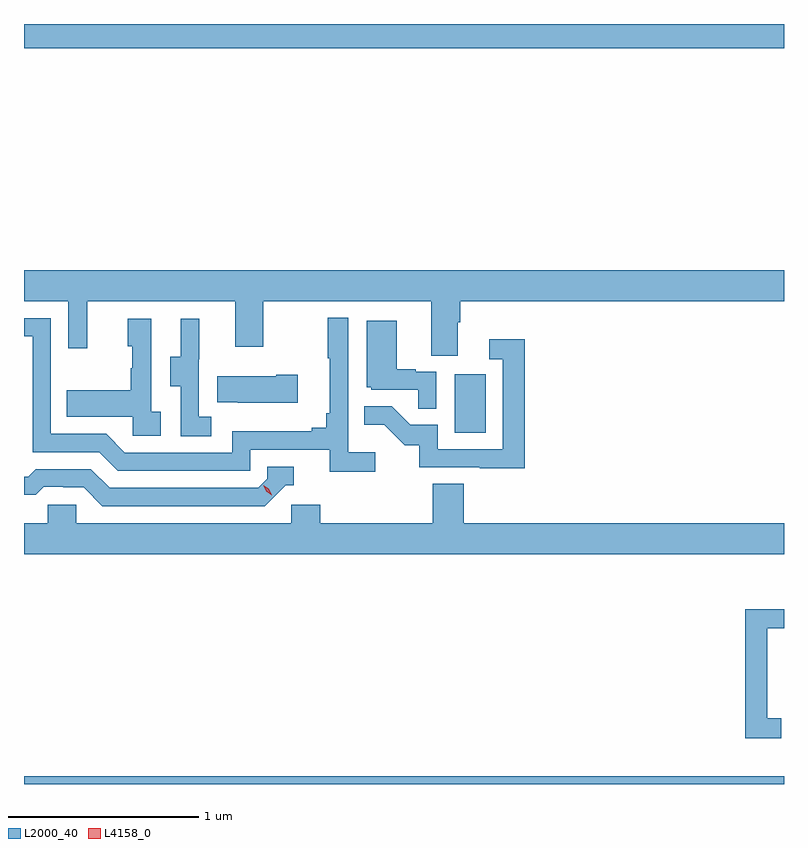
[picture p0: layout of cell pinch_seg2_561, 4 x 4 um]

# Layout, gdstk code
import gdstk
lib = gdstk.Library(unit=1e-6, precision=1e-09)
def R(c, l, rs):  # rectangles x0, y0, x1, y1
    for r in rs: c.add(gdstk.rectangle(r[:2], r[2:], *l))
def P(c, l, *ps):  # polygons
    for p in ps: c.add(gdstk.Polygon(p, *l))
L2000_40 = (2000, 40)
L4158_0 = (4158, 0)

pinch_seg2_561 = lib.new_cell('pinch_seg2_561')
R(pinch_seg2_561, L2000_40, [(1137.897,617.123,1141.897,617.164), (1140.164,618.972,1140.328,619.279), (1137.897,620.996,1141.897,621.123)])
P(pinch_seg2_561, L2000_40, [(1140.181,619.552),(1140.194,619.552),(1140.194,619.664),(1141.897,619.664),(1141.897,619.828),(1137.897,619.828),(1137.897,619.664),(1138.131,619.664),(1138.131,619.416),(1138.229,619.416),(1138.229,619.664),(1139.009,619.664),(1139.009,619.425),(1139.157,619.425),(1139.157,619.664),(1140.041,619.664),(1140.041,619.378),(1140.181,619.378)],
  [(1139.746,618.868),(1139.604,618.868),(1139.604,619.576),(1139.496,619.576),(1139.496,619.363),(1139.507,619.363),(1139.507,619.075),(1139.488,619.075),(1139.488,618.998),(1139.411,618.998),(1139.411,618.979),(1138.992,618.979),(1138.992,618.867),(1138.428,618.867),(1138.329,618.966),(1138.038,618.966),(1138.038,619.575),(1137.897,619.575),(1137.897,619.479),(1137.942,619.479),(1137.942,618.87),(1138.292,618.87),(1138.391,618.771),(1139.088,618.771),(1139.088,618.882),(1139.507,618.882),(1139.507,618.766),(1139.746,618.766)],
  [(1138.882,619.055),(1138.818,619.055),(1138.818,619.359),(1138.82,619.359),(1138.82,619.573),(1138.721,619.573),(1138.721,619.371),(1138.667,619.371),(1138.667,619.216),(1138.722,619.216),(1138.722,618.952),(1138.882,618.952)],
  [(1138.618,619.082),(1138.566,619.082),(1138.566,619.573),(1138.442,619.573),(1138.442,619.428),(1138.468,619.428),(1138.468,619.31),(1138.458,619.31),(1138.458,619.195),(1138.123,619.195),(1138.123,619.055),(1138.47,619.055),(1138.47,618.957),(1138.618,618.957)],
  [(1140.066,619.293),(1139.96,619.293),(1139.96,619.306),(1139.86,619.306),(1139.86,619.561),(1139.702,619.561),(1139.702,619.212),(1139.724,619.212),(1139.724,619.197),(1139.971,619.197),(1139.971,619.099),(1140.066,619.099)],
  [(1140.533,619.465),(1140.345,619.465),(1140.345,619.359),(1140.417,619.359),(1140.417,618.885),(1140.075,618.885),(1140.075,619.014),(1139.931,619.014),(1139.833,619.112),(1139.689,619.112),(1139.689,619.013),(1139.793,619.013),(1139.9,618.906),(1139.977,618.906),(1139.977,618.789),(1140.295,618.789),(1140.295,618.784),(1140.533,618.784)],
  [(1139.338,619.278),(1139.225,619.278),(1139.225,619.27),(1138.915,619.27),(1138.915,619.133),(1139.023,619.133),(1139.023,619.13),(1139.338,619.13)],
  [(1139.274,618.696),(1139.317,618.696),(1139.317,618.792),(1139.178,618.792),(1139.178,618.729),(1139.13,618.681),(1138.347,618.681),(1138.248,618.78),(1137.959,618.78),(1137.92,618.741),(1137.897,618.741),(1137.897,618.645),(1137.959,618.645),(1138.001,618.687),(1138.104,618.687),(1138.104,618.684),(1138.211,618.684),(1138.31,618.585),(1139.163,618.585)],
  [(1141.897,618.496),(1140.212,618.496),(1140.212,618.704),(1140.047,618.704),(1140.047,618.496),(1139.456,618.496),(1139.456,618.594),(1139.304,618.594),(1139.304,618.496),(1138.173,618.496),(1138.173,618.594),(1138.023,618.594),(1138.023,618.496),(1137.897,618.496),(1137.897,618.332),(1141.897,618.332)],
  [(1141.882,617.469),(1141.809,617.469),(1141.809,617.943),(1141.897,617.943),(1141.897,618.044),(1141.693,618.044),(1141.693,617.364),(1141.882,617.364)])
P(pinch_seg2_561, L4158_0, [(1139.202,618.644),(1139.171,618.663),(1139.155,618.696),(1139.155,618.696),(1139.156,618.696),(1139.186,618.676),(1139.202,618.644),(1139.202,618.644)])

lib.write_gds('pinch_seg2_561.gds')
